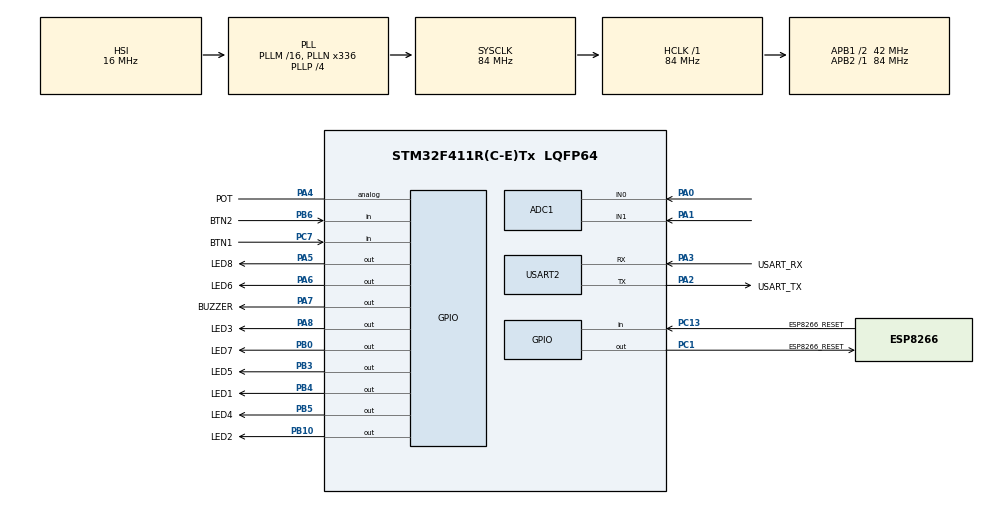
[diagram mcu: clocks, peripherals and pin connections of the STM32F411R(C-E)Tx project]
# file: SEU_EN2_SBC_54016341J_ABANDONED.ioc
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ADC1.Channel-0\#ChannelRegularConversion=ADC_CHANNEL_0
ADC1.NbrOfConversionFlag=1
ADC1.Rank-0\#ChannelRegularConversion=1
ADC1.SamplingTime-0\#ChannelRegularConversion=ADC_SAMPLETIME_3CYCLES
ADC1.master=1
FREERTOS.Tasks01=defaultTask,24,128,StartDefaultTask,Default,NULL,Dynamic,NULL,NULL;myTask02,8,128,StartTask02,Default,NULL,Dynamic,NULL,NULL;Task_HW,8,128,StartTask_HW,Default,NULL,Dynamic,NULL,NULL
Mcu.Family=STM32F4
Mcu.Name=STM32F411R(C-E)Tx
Mcu.Package=LQFP64
NVIC.PriorityGroup=NVIC_PRIORITYGROUP_4
PA0-WKUP.Signal=ADCx_IN0
PA1.Signal=ADCx_IN1
PA13.GPIO_Label=TMS
PA13.Mode=Serial_Wire
PA13.Signal=SYS_JTMS-SWDIO
PA14.GPIO_Label=TCK
PA14.Mode=Serial_Wire
PA14.Signal=SYS_JTCK-SWCLK
PA2.GPIO_Label=USART_TX
PA2.Mode=Asynchronous
PA2.Signal=USART2_TX
PA3.GPIO_Label=USART_RX
PA3.Mode=Asynchronous
PA3.Signal=USART2_RX
PA4.GPIO_Label=POT
PA4.Signal=GPIO_Analog
PA5.GPIO_Label=LED8
PA5.Signal=GPIO_Output
PA6.GPIO_Label=LED6
PA6.Signal=GPIO_Output
PA7.GPIO_Label=BUZZER
PA7.Signal=GPIO_Output
PA8.GPIO_Label=LED3
PA8.Signal=GPIO_Output
PB0.GPIO_Label=LED7
PB0.Signal=GPIO_Output
PB10.GPIO_Label=LED2
PB10.Signal=GPIO_Output
PB3.GPIO_Label=LED5
PB3.Signal=GPIO_Output
PB4.GPIO_Label=LED1
PB4.Signal=GPIO_Output
PB5.GPIO_Label=LED4
PB5.Signal=GPIO_Output
PB6.GPIO_Label=BTN2
PB6.GPIO_PuPd=GPIO_PULLUP
PB6.Signal=GPIO_Input
PC1.GPIO_Label=ESP8266_RESET
PC1.GPIO_Speed=GPIO_SPEED_FREQ_VERY_HIGH
PC1.Signal=GPIO_Output
PC13-ANTI_TAMP.GPIO_Label=ESP8266_RESET
PC13-ANTI_TAMP.GPIO_PuPd=GPIO_NOPULL
PC13-ANTI_TAMP.Signal=GPIO_Input
PC14-OSC32_IN.Mode=LSE-External-Oscillator
PC14-OSC32_IN.Signal=RCC_OSC32_IN
PC15-OSC32_OUT.Mode=LSE-External-Oscillator
PC15-OSC32_OUT.Signal=RCC_OSC32_OUT
PC7.GPIO_Label=BTN1
PC7.GPIO_PuPd=GPIO_PULLUP
PC7.Signal=GPIO_Input
PH0\ -\ OSC_IN.Mode=HSE-External-Clock-Source
PH0\ -\ OSC_IN.Signal=RCC_OSC_IN
PH1\ -\ OSC_OUT.Mode=HSE-External-Clock-Source
PH1\ -\ OSC_OUT.Signal=RCC_OSC_OUT
ProjectManager.HeapSize=0x200
ProjectManager.StackSize=0x400
ProjectManager.TargetToolchain=STM32CubeIDE
RCC.48MHZClocksFreq_Value=84000000
RCC.AHBFreq_Value=84000000
RCC.APB1CLKDivider=RCC_HCLK_DIV2
RCC.APB1Freq_Value=42000000
RCC.APB1TimFreq_Value=84000000
RCC.APB2Freq_Value=84000000
RCC.APB2TimFreq_Value=84000000
RCC.CortexFreq_Value=84000000
RCC.FLatency-AdvancedSettings=FLASH_LATENCY_2
RCC.HCLKFreq_Value=84000000
RCC.HSE_VALUE=8000000
RCC.HSI_VALUE=16000000
RCC.PLLN=336
RCC.PLLP=RCC_PLLP_DIV4
RCC.SYSCLKFreq_VALUE=84000000
RCC.SYSCLKSource=RCC_SYSCLKSOURCE_PLLCLK
RCC.VCOOutputFreq_Value=336000000
SH.ADCx_IN0.0=ADC1_IN0,IN0
SH.ADCx_IN1.0=ADC1_IN1,IN1
USART2.VirtualMode=VM_ASYNC
VP_FREERTOS_VS_CMSIS_V2.Mode=CMSIS_V2
board=NUCLEO-F411RE

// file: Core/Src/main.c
/* USER CODE BEGIN Header */
/**
  ******************************************************************************
  * @file           : main.c
  * @brief          : Main program body
  ******************************************************************************
  * @attention
  *
  * Copyright (c) 2023 STMicroelectronics.
  * All rights reserved.
  *
  * This software is licensed under terms that can be found in the LICENSE file
  * in the root directory of this software component.
  * If no LICENSE file comes with this software, it is provided AS-IS.
  *
  ******************************************************************************
  */
/* USER CODE END Header */
#include "main.h"
#include "cmsis_os.h"

/* USER CODE BEGIN Includes */
#include "main.h"
#include "tasks.h"
/* USER CODE END Includes */

ADC_HandleTypeDef hadc1;

UART_HandleTypeDef huart2;

/* Definitions for defaultTask */
osThreadId_t defaultTaskHandle;
const osThreadAttr_t defaultTask_attributes = {
  .name = "defaultTask",
  .stack_size = 128 * 4,
  .priority = (osPriority_t) osPriorityNormal,
};
/* Definitions for myTask02 */
osThreadId_t myTask02Handle;
const osThreadAttr_t myTask02_attributes = {
  .name = "myTask02",
  .stack_size = 128 * 4,
  .priority = (osPriority_t) osPriorityLow,
};
/* Definitions for Task_HW */
osThreadId_t Task_HWHandle;
const osThreadAttr_t Task_HW_attributes = {
  .name = "Task_HW",
  .stack_size = 128 * 4,
  .priority = (osPriority_t) osPriorityLow,
};

void SystemClock_Config(void);
static void MX_GPIO_Init(void);
static void MX_USART2_UART_Init(void);
static void MX_ADC1_Init(void);
void StartDefaultTask(void *argument);
void StartTask02(void *argument);
void StartTask_HW(void *argument);

/* USER CODE BEGIN 0 */
int _write(int file, char *ptr, int len) {
	int DataIdx;
	for (DataIdx = 0; DataIdx < len; DataIdx++) {
		HAL_UART_Transmit(&huart2, (uint8_t*) ptr++, 1, 1000);
	}
	return len;
}

void setOffAlarm(float value, float trigger) {
	if (value > trigger ) {
	 	HAL_GPIO_WritePin(GPIOA, BUZZER_Pin, GPIO_PIN_SET);
	} else {
	 	HAL_GPIO_WritePin(GPIOA, BUZZER_Pin, GPIO_PIN_RESET);
	}
}

void turnOnLeds(float value) {
	float div = 3.3/8;
	if (value <= div) {
		put_leds(1);
	} else if (value <= div*2) {
		put_leds(3);
	} else if (value <= div*3) {
		put_leds(7);
	} else if (value <= div*4) {
		put_leds(15);
	} else if (value <= div*5) {
		put_leds(31);
	} else if (value <= div*6) {
		put_leds(63);
	} else if (value <= div*7) {
		put_leds(127);
	} else {
		put_leds(255);
	}
}

void turnOnLedsTemp(float initValue, float currentValue) {
	float div = 0.04;
	printf(" div value %.2f\n", (initValue + (div*2)));
	if (currentValue <= (initValue + div)) {
		put_leds(1);
	} else if (currentValue <= (initValue + (div*2))) {
		put_leds(3);
	} else if (currentValue <= (initValue + (div*3))) {
		put_leds(7);
	} else if (currentValue <= (initValue + (div*4))) {
		put_leds(15);
	} else if (currentValue <= (initValue + (div*5))) {
		put_leds(31);
	} else if (currentValue <= (initValue + (div*6))) {
		put_leds(63);
	} else if (currentValue <= (initValue + (div*7))) {
		put_leds(127);
	} else {
		put_leds(255);
	}
}
/* USER CODE END 0 */

int main(void)
{

  /* MCU Configuration--------------------------------------------------------*/

  /* Reset of all peripherals, Initializes the Flash interface and the Systick. */
  HAL_Init();

  /* Configure the system clock */
  SystemClock_Config();

  /* Initialize all configured peripherals */
  MX_GPIO_Init();
  MX_USART2_UART_Init();
  MX_ADC1_Init();
  /* USER CODE BEGIN 2 */
  printf("PRJ: %s, Date: %s\r\n", "mi proyecto", __TIME__);
  /* USER CODE END 2 */

  /* Init scheduler */
  osKernelInitialize();

  /* Create the thread(s) */
  /* creation of defaultTask */
  defaultTaskHandle = osThreadNew(StartDefaultTask, NULL, &defaultTask_attributes);

  /* creation of myTask02 */
  myTask02Handle = osThreadNew(StartTask02, NULL, &myTask02_attributes);

  /* creation of Task_HW */
  Task_HWHandle = osThreadNew(StartTask_HW, NULL, &Task_HW_attributes);

  /* Start scheduler */
  osKernelStart();

  /* We should never get here as control is now taken by the scheduler */
  /* Infinite loop */
  /* USER CODE BEGIN WHILE */
  GPIO_PinState leftButtonState = GPIO_PIN_SET;
  GPIO_PinState rightButtonState = GPIO_PIN_SET;
  int sensor = 0; //0 = LDR || 1 = NTC
  uint32_t valuePot = ConvertidorA_D(4);
  float lastPot = ((valuePot * 3.3)/4095.0);
  uint32_t tempInit = ConvertidorA_D(1);
  float initTempValue = ((4096-tempInit)*3.3)/4095;
  float trigger = lastPot;
  while (1)
  {

	 //Choose sensor
	 GPIO_PinState lbCurrentState = HAL_GPIO_ReadPin(BTN2_GPIO_Port, BTN2_Pin);
	 if(leftButtonState != lbCurrentState && lbCurrentState == GPIO_PIN_RESET) {
		  leftButtonState = GPIO_PIN_RESET;
	 }

	 if(leftButtonState != lbCurrentState && lbCurrentState == GPIO_PIN_SET) {
		 leftButtonState = GPIO_PIN_SET;
		 if (sensor == 0) {
			 printf("changing to NTC\r\n");
			 sensor = 1;
		 } else {
			 printf("changing to LDR\r\n");
			 sensor = 0;
		 }
	 }

	 //LIGHT SENSOR
	 if (sensor == 0) {
		 uint32_t valueADLum = ConvertidorA_D(0);
		 float valueBigLum = 4096-valueADLum;
		 float lumValue = (valueBigLum*3.3)/4095;
		 printf("Value de la luz %.2f \r\n", lumValue);
		 turnOnLeds(lumValue);

		 //set trigger
		 uint32_t valuePot = ConvertidorA_D(4);
		 float currentPot = ((valuePot * 3.3)/4095.0);
		 printf("Value del pot %.2f \r\n", currentPot);
		 if (currentPot > (lastPot+0.35) || currentPot < (lastPot - 0.35)) {
			 printf("pot changed %.2f\r\n", currentPot);
			 lastPot = currentPot;
		 	 trigger = currentPot;
		 	 for(int i = 0; i<8;i++) {
		 		 turnOnLeds(currentPot);
		 		 for (int j = 0; j < 1000000; j++) {}
		 		 put_leds(0);
		 		 for (int j = 0; j < 1000000; j++) {}
		 	 }
		 	}
		 setOffAlarm(lumValue, trigger);
	 }

	 //TEMP SENSOR
 	 if (sensor == 1) {
 		uint32_t valueADTemp = ConvertidorA_D(1);
 		float valueBigTemp = 4096-valueADTemp;
 		float tempValue = (valueBigTemp*3.3)/4095;
 		//float resis = ((3.3*10000)/((3.3-valueBigTemp)/(4095*3.3)))-10000;
 		printf("Value de la temp %.2f \r\n Value init temp %.2f \n", tempValue, initTempValue);
 		//printf("Value de la resis %.2f \r\n", resis);
 		turnOnLedsTemp(initTempValue, tempValue);

 		//adjust leds maxvalue - minvalue and set leds according to the currentValue
 		setOffAlarm(tempValue, trigger);
 	 }

	 //SCREAM
	 /*if (lumValue > trigger ) {
	 	HAL_GPIO_WritePin(GPIOA, BUZZER_Pin, GPIO_PIN_SET);
	 } else {
	 	HAL_GPIO_WritePin(GPIOA, BUZZER_Pin, GPIO_PIN_RESET);
	 }*/

	 //RESET SCREAM
	 GPIO_PinState rbCurrentState = HAL_GPIO_ReadPin(BTN1_GPIO_Port, BTN1_Pin);
	 if(rightButtonState != rbCurrentState && rbCurrentState== GPIO_PIN_RESET) {
	 	rightButtonState = GPIO_PIN_RESET;
	 	HAL_GPIO_WritePin(GPIOA, BUZZER_Pin, GPIO_PIN_RESET);
	 	for (int j = 0; j < 70000000; j++) {}
	 }

	 if(rightButtonState != rbCurrentState && rbCurrentState == GPIO_PIN_SET) {
	 	rightButtonState = GPIO_PIN_SET;
	 }

	 {int c;for (c = 0; c < 1000000; c++);}
    /* USER CODE END WHILE */

  }
}

void SystemClock_Config(void)
{
  RCC_OscInitTypeDef RCC_OscInitStruct = {0};
  RCC_ClkInitTypeDef RCC_ClkInitStruct = {0};

  /** Configure the main internal regulator output voltage
  */
  __HAL_RCC_PWR_CLK_ENABLE();
  __HAL_PWR_VOLTAGESCALING_CONFIG(PWR_REGULATOR_VOLTAGE_SCALE1);
  /** Initializes the RCC Oscillators according to the specified parameters
  * in the RCC_OscInitTypeDef structure.
  */
  RCC_OscInitStruct.OscillatorType = RCC_OSCILLATORTYPE_HSI;
  RCC_OscInitStruct.HSIState = RCC_HSI_ON;
  RCC_OscInitStruct.HSICalibrationValue = RCC_HSICALIBRATION_DEFAULT;
  RCC_OscInitStruct.PLL.PLLState = RCC_PLL_ON;
  RCC_OscInitStruct.PLL.PLLSource = RCC_PLLSOURCE_HSI;
  RCC_OscInitStruct.PLL.PLLM = 16;
  RCC_OscInitStruct.PLL.PLLN = 336;
  RCC_OscInitStruct.PLL.PLLP = RCC_PLLP_DIV4;
  RCC_OscInitStruct.PLL.PLLQ = 4;
  if (HAL_RCC_OscConfig(&RCC_OscInitStruct) != HAL_OK)
  {
    Error_Handler();
  }
  /** Initializes the CPU, AHB and APB buses clocks
  */
  RCC_ClkInitStruct.ClockType = RCC_CLOCKTYPE_HCLK|RCC_CLOCKTYPE_SYSCLK
                              |RCC_CLOCKTYPE_PCLK1|RCC_CLOCKTYPE_PCLK2;
  RCC_ClkInitStruct.SYSCLKSource = RCC_SYSCLKSOURCE_PLLCLK;
  RCC_ClkInitStruct.AHBCLKDivider = RCC_SYSCLK_DIV1;
  RCC_ClkInitStruct.APB1CLKDivider = RCC_HCLK_DIV2;
  RCC_ClkInitStruct.APB2CLKDivider = RCC_HCLK_DIV1;

  if (HAL_RCC_ClockConfig(&RCC_ClkInitStruct, FLASH_LATENCY_2) != HAL_OK)
  {
    Error_Handler();
  }
}

static void MX_ADC1_Init(void)
{

  ADC_ChannelConfTypeDef sConfig = {0};

  /** Configure the global features of the ADC (Clock, Resolution, Data Alignment and number of conversion)
  */
  hadc1.Instance = ADC1;
  hadc1.Init.ClockPrescaler = ADC_CLOCK_SYNC_PCLK_DIV4;
  hadc1.Init.Resolution = ADC_RESOLUTION_12B;
  hadc1.Init.ScanConvMode = DISABLE;
  hadc1.Init.ContinuousConvMode = DISABLE;
  hadc1.Init.DiscontinuousConvMode = DISABLE;
  hadc1.Init.ExternalTrigConvEdge = ADC_EXTERNALTRIGCONVEDGE_NONE;
  hadc1.Init.ExternalTrigConv = ADC_SOFTWARE_START;
  hadc1.Init.DataAlign = ADC_DATAALIGN_RIGHT;
  hadc1.Init.NbrOfConversion = 1;
  hadc1.Init.DMAContinuousRequests = DISABLE;
  hadc1.Init.EOCSelection = ADC_EOC_SINGLE_CONV;
  if (HAL_ADC_Init(&hadc1) != HAL_OK)
  {
    Error_Handler();
  }
  /** Configure for the selected ADC regular channel its corresponding rank in the sequencer and its sample time.
  */
  sConfig.Channel = ADC_CHANNEL_0;
  sConfig.Rank = 1;
  sConfig.SamplingTime = ADC_SAMPLETIME_3CYCLES;
  if (HAL_ADC_ConfigChannel(&hadc1, &sConfig) != HAL_OK)
  {
    Error_Handler();
  }

}

static void MX_USART2_UART_Init(void)
{

  huart2.Instance = USART2;
  huart2.Init.BaudRate = 115200;
  huart2.Init.WordLength = UART_WORDLENGTH_8B;
  huart2.Init.StopBits = UART_STOPBITS_1;
  huart2.Init.Parity = UART_PARITY_NONE;
  huart2.Init.Mode = UART_MODE_TX_RX;
  huart2.Init.HwFlowCtl = UART_HWCONTROL_NONE;
  huart2.Init.OverSampling = UART_OVERSAMPLING_16;
  if (HAL_UART_Init(&huart2) != HAL_OK)
  {
    Error_Handler();
  }

}

static void MX_GPIO_Init(void)
{
  GPIO_InitTypeDef GPIO_InitStruct = {0};

  /* GPIO Ports Clock Enable */
  __HAL_RCC_GPIOC_CLK_ENABLE();
  __HAL_RCC_GPIOH_CLK_ENABLE();
  __HAL_RCC_GPIOA_CLK_ENABLE();
  __HAL_RCC_GPIOB_CLK_ENABLE();

  /*Configure GPIO pin Output Level */
  HAL_GPIO_WritePin(ESP8266_RESETC1_GPIO_Port, ESP8266_RESETC1_Pin, GPIO_PIN_RESET);

  /*Configure GPIO pin Output Level */
  HAL_GPIO_WritePin(GPIOA, LED8_Pin|LED6_Pin|BUZZER_Pin|LED3_Pin, GPIO_PIN_RESET);

  /*Configure GPIO pin Output Level */
  HAL_GPIO_WritePin(GPIOB, LED7_Pin|LED2_Pin|LED5_Pin|LED1_Pin
                          |LED4_Pin, GPIO_PIN_RESET);

  /*Configure GPIO pin : ESP8266_RESET_Pin */
  GPIO_InitStruct.Pin = ESP8266_RESET_Pin;
  GPIO_InitStruct.Mode = GPIO_MODE_INPUT;
  GPIO_InitStruct.Pull = GPIO_NOPULL;
  HAL_GPIO_Init(ESP8266_RESET_GPIO_Port, &GPIO_InitStruct);

  /*Configure GPIO pin : ESP8266_RESETC1_Pin */
  GPIO_InitStruct.Pin = ESP8266_RESETC1_Pin;
  GPIO_InitStruct.Mode = GPIO_MODE_OUTPUT_PP;
  GPIO_InitStruct.Pull = GPIO_NOPULL;
  GPIO_InitStruct.Speed = GPIO_SPEED_FREQ_VERY_HIGH;
  HAL_GPIO_Init(ESP8266_RESETC1_GPIO_Port, &GPIO_InitStruct);

  /*Configure GPIO pin : POT_Pin */
  GPIO_InitStruct.Pin = POT_Pin;
  GPIO_InitStruct.Mode = GPIO_MODE_ANALOG;
  GPIO_InitStruct.Pull = GPIO_NOPULL;
  HAL_GPIO_Init(POT_GPIO_Port, &GPIO_InitStruct);

  /*Configure GPIO pins : LED8_Pin LED6_Pin BUZZER_Pin LED3_Pin */
  GPIO_InitStruct.Pin = LED8_Pin|LED6_Pin|BUZZER_Pin|LED3_Pin;
  GPIO_InitStruct.Mode = GPIO_MODE_OUTPUT_PP;
  GPIO_InitStruct.Pull = GPIO_NOPULL;
  GPIO_InitStruct.Speed = GPIO_SPEED_FREQ_LOW;
  HAL_GPIO_Init(GPIOA, &GPIO_InitStruct);

  /*Configure GPIO pins : LED7_Pin LED2_Pin LED5_Pin LED1_Pin
                           LED4_Pin */
  GPIO_InitStruct.Pin = LED7_Pin|LED2_Pin|LED5_Pin|LED1_Pin
                          |LED4_Pin;
  GPIO_InitStruct.Mode = GPIO_MODE_OUTPUT_PP;
  GPIO_InitStruct.Pull = GPIO_NOPULL;
  GPIO_InitStruct.Speed = GPIO_SPEED_FREQ_LOW;
  HAL_GPIO_Init(GPIOB, &GPIO_InitStruct);

  /*Configure GPIO pin : BTN1_Pin */
  GPIO_InitStruct.Pin = BTN1_Pin;
  GPIO_InitStruct.Mode = GPIO_MODE_INPUT;
  GPIO_InitStruct.Pull = GPIO_PULLUP;
  HAL_GPIO_Init(BTN1_GPIO_Port, &GPIO_InitStruct);

  /*Configure GPIO pin : BTN2_Pin */
  GPIO_InitStruct.Pin = BTN2_Pin;
  GPIO_InitStruct.Mode = GPIO_MODE_INPUT;
  GPIO_InitStruct.Pull = GPIO_PULLUP;
  HAL_GPIO_Init(BTN2_GPIO_Port, &GPIO_InitStruct);

}

void StartDefaultTask(void *argument)
{
  for(;;)
  {
    osDelay(1);
  }
}

void StartTask02(void *argument)
{
  for(;;)
  {
    osDelay(1);
  }
}

void StartTask_HW(void *argument)
{
  for(;;)
  {
    osDelay(1);
  }
}

void Error_Handler(void)
{
  __disable_irq();
  while (1)
  {
  }
}
